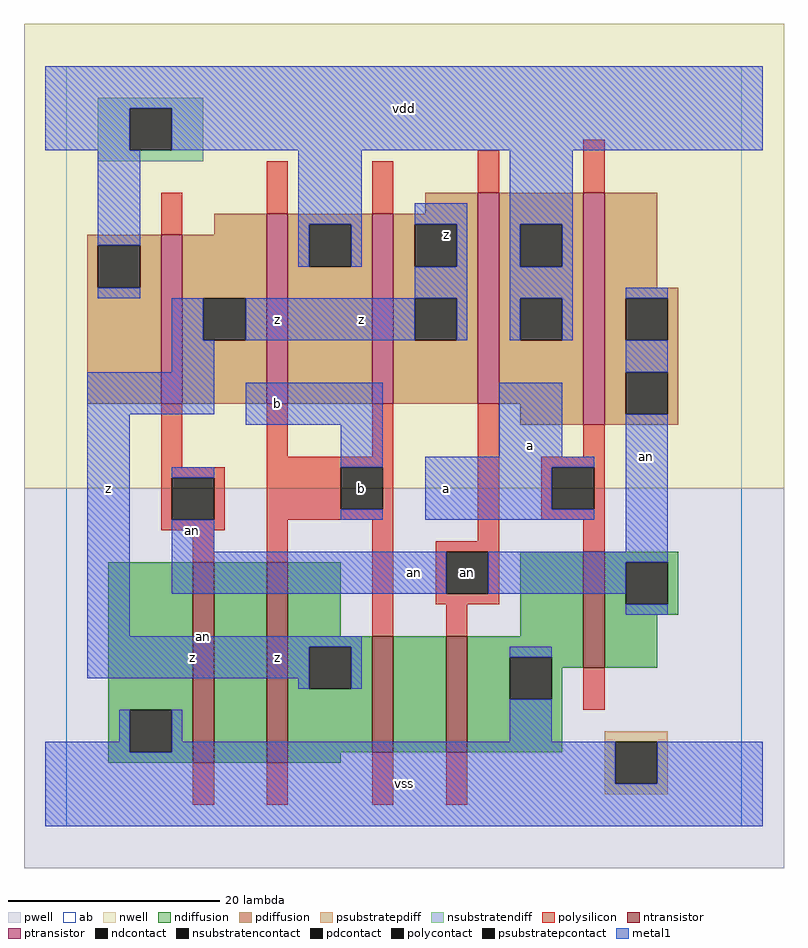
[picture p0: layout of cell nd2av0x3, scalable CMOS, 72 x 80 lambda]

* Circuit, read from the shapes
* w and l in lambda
.subckt nd2av0x3 a an b vdd vss z
M1 n1 an vss vss nfet w=19 l=2
M2 z b n1 vss nfet w=19 l=2
M3 n2 b z vss nfet w=11 l=2
M4 vss an n2 vss nfet w=11 l=2
M5 an a vss vss nfet w=11 l=2
M6 z an vdd vdd pfet w=16 l=2
M7 vdd b z vdd pfet w=18 l=2 m=2
M8 vdd an z vdd pfet w=20 l=2
M9 an a vdd vdd pfet w=22 l=2
.ends

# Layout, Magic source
magic
tech scmos
<< ab >>
rect 0 0 64 72
<< pwell >>
rect -4 -4 68 32
<< nwell >>
rect -4 32 68 76
<< polysilicon >>
rect 9 56 11 60
rect 19 58 21 63
rect 29 58 31 63
rect 39 60 41 64
rect 49 60 51 65
rect 9 34 11 40
rect 19 35 21 40
rect 29 35 31 40
rect 19 34 31 35
rect 9 33 15 34
rect 9 29 10 33
rect 14 29 15 33
rect 9 28 15 29
rect 19 30 26 34
rect 30 30 31 34
rect 19 29 31 30
rect 12 25 14 28
rect 19 25 21 29
rect 29 18 31 29
rect 39 27 41 40
rect 49 35 51 38
rect 45 34 51 35
rect 45 30 46 34
rect 50 30 51 34
rect 45 29 51 30
rect 35 26 41 27
rect 49 26 51 29
rect 35 22 36 26
rect 40 22 41 26
rect 35 21 41 22
rect 36 18 38 21
rect 49 11 51 15
rect 12 2 14 6
rect 19 2 21 6
rect 29 2 31 7
rect 36 2 38 7
<< ndiffusion >>
rect 4 11 12 25
rect 4 7 6 11
rect 10 7 12 11
rect 4 6 12 7
rect 14 6 19 25
rect 21 18 26 25
rect 43 18 49 26
rect 21 17 29 18
rect 21 13 23 17
rect 27 13 29 17
rect 21 7 29 13
rect 31 7 36 18
rect 38 16 49 18
rect 38 12 42 16
rect 46 15 49 16
rect 51 25 58 26
rect 51 21 53 25
rect 57 21 58 25
rect 51 20 58 21
rect 51 15 56 20
rect 46 12 47 15
rect 38 7 47 12
rect 21 6 26 7
<< pdiffusion >>
rect 34 58 39 60
rect 14 56 19 58
rect 2 55 9 56
rect 2 51 3 55
rect 7 51 9 55
rect 2 40 9 51
rect 11 50 19 56
rect 11 46 13 50
rect 17 46 19 50
rect 11 40 19 46
rect 21 57 29 58
rect 21 53 23 57
rect 27 53 29 57
rect 21 40 29 53
rect 31 57 39 58
rect 31 53 33 57
rect 37 53 39 57
rect 31 50 39 53
rect 31 46 33 50
rect 37 46 39 50
rect 31 40 39 46
rect 41 57 49 60
rect 41 53 43 57
rect 47 53 49 57
rect 41 50 49 53
rect 41 46 43 50
rect 47 46 49 50
rect 41 40 49 46
rect 43 38 49 40
rect 51 51 56 60
rect 51 50 58 51
rect 51 46 53 50
rect 57 46 58 50
rect 51 43 58 46
rect 51 39 53 43
rect 57 39 58 43
rect 51 38 58 39
<< metal1 >>
rect -2 68 66 72
rect -2 64 6 68
rect 10 64 66 68
rect 3 55 7 64
rect 22 57 28 64
rect 22 53 23 57
rect 27 53 28 57
rect 33 57 38 59
rect 37 53 38 57
rect 3 50 7 51
rect 33 50 38 53
rect 10 46 13 50
rect 17 46 33 50
rect 37 46 38 50
rect 42 57 48 64
rect 42 53 43 57
rect 47 53 48 57
rect 42 50 48 53
rect 42 46 43 50
rect 47 46 48 50
rect 53 50 57 51
rect 10 43 14 46
rect 2 39 14 43
rect 53 43 57 46
rect 2 18 6 39
rect 17 38 30 42
rect 26 34 30 38
rect 41 35 47 42
rect 10 33 14 34
rect 26 29 30 30
rect 34 34 50 35
rect 34 30 46 34
rect 34 29 50 30
rect 10 26 14 29
rect 53 26 57 39
rect 10 22 36 26
rect 40 25 57 26
rect 40 22 53 25
rect 53 20 57 21
rect 2 17 28 18
rect 2 14 23 17
rect 22 13 23 14
rect 27 13 28 17
rect 42 16 46 17
rect 5 8 6 11
rect -2 7 6 8
rect 10 8 11 11
rect 42 8 46 12
rect 10 7 52 8
rect -2 4 52 7
rect 56 4 66 8
rect -2 0 66 4
<< ntransistor >>
rect 12 6 14 25
rect 19 6 21 25
rect 29 7 31 18
rect 36 7 38 18
rect 49 15 51 26
<< ptransistor >>
rect 9 40 11 56
rect 19 40 21 58
rect 29 40 31 58
rect 39 40 41 60
rect 49 38 51 60
<< polycontact >>
rect 10 29 14 33
rect 26 30 30 34
rect 46 30 50 34
rect 36 22 40 26
<< ndcontact >>
rect 6 7 10 11
rect 23 13 27 17
rect 42 12 46 16
rect 53 21 57 25
<< pdcontact >>
rect 3 51 7 55
rect 13 46 17 50
rect 23 53 27 57
rect 33 53 37 57
rect 33 46 37 50
rect 43 53 47 57
rect 43 46 47 50
rect 53 46 57 50
rect 53 39 57 43
<< psubstratepcontact >>
rect 52 4 56 8
<< nsubstratencontact >>
rect 6 64 10 68
<< psubstratepdiff >>
rect 51 8 57 9
rect 51 4 52 8
rect 56 4 57 8
rect 51 3 57 4
<< nsubstratendiff >>
rect 3 68 13 69
rect 3 64 6 68
rect 10 64 13 68
rect 3 63 13 64
<< labels >>
rlabel ntransistor 13 18 13 18 6 an
rlabel polycontact 38 24 38 24 6 an
rlabel metal1 12 16 12 16 6 z
rlabel metal1 12 28 12 28 6 an
rlabel metal1 4 32 4 32 6 z
rlabel metal1 20 16 20 16 6 z
rlabel polycontact 28 32 28 32 6 b
rlabel metal1 20 40 20 40 6 b
rlabel metal1 20 48 20 48 6 z
rlabel metal1 28 48 28 48 6 z
rlabel metal1 32 4 32 4 6 vss
rlabel metal1 36 32 36 32 6 a
rlabel metal1 44 36 44 36 6 a
rlabel pdcontact 36 56 36 56 6 z
rlabel metal1 32 68 32 68 6 vdd
rlabel metal1 33 24 33 24 6 an
rlabel metal1 55 35 55 35 6 an
<< end >>
